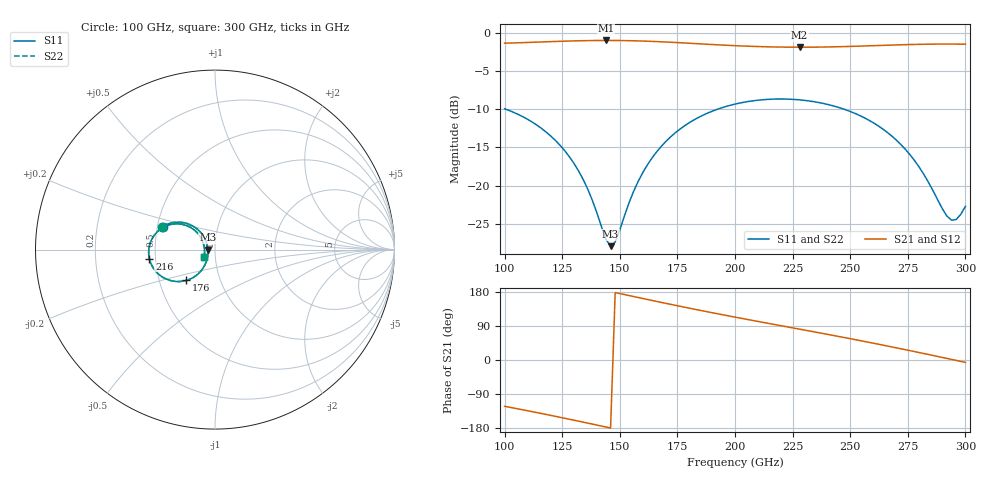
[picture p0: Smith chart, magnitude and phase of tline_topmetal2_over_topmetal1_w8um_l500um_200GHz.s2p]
#  GHZ S DB R 50
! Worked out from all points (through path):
!   101 points, 100 GHz to 300 GHz, reference 50 ohm
!   highest |S21| = -0.94 dB at 144 GHz (marker M1); lowest = -1.8 dB at 228 GHz (marker M2)
!   group delay of S21, straight-line fit = 3.36 ps
!   lowest |S11| = -28.0 dB at 146 GHz (marker M3), VSWR 1.08, Z = 46.2 - j0.0448 ohm
!   |S11| at or under -10 dB: 100.7 GHz to 192.2 GHz (91.46 GHz wide, 62.4 % of centre); 247.6 GHz to end of sweep
!   |S22| runs from -27.9 to -8.6 dB; largest |S21 - S12| = 1e-14
!   S11 on the Smith chart (normalised r, x): 100 GHz: 0.53, +0.15; 176 GHz: 0.69, -0.25; 216 GHz: 0.46, -0.05; 300 GHz: 0.88, -0.07
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100  -9.92 156.3  -1.30 -122.2  -1.30 -122.2  -9.91 156.4
120  -13.49 136.8  -1.10 -146.2  -1.10 -146.2  -13.48 136.9
128  -16.17 131.1  -1.02 -156.2  -1.02 -156.2  -16.15 131.2
134  -19.14 130.0  -0.98 -163.9  -0.98 -163.9  -19.12 130.1
138  -21.88 133.6  -0.96 -169.0  -0.96 -169.0  -21.84 133.6
144  -27.07 160.6  -0.94 -176.8  -0.94 -176.8  -27.01 160.4
146  -27.97 -179.3  -0.94 -179.4  -0.94 -179.4  -27.92 -179.6
148  -27.41 -158.2  -0.95 177.9  -0.95 177.9  -27.40 -158.6
158  -19.44 -123.2  -1.01 164.9  -1.01 164.9  -19.46 -123.3
168  -14.86 -126.3  -1.12 152.0  -1.12 152.0  -14.86 -126.3
176  -12.62 -132.9  -1.24 141.9  -1.24 141.9  -12.62 -132.9
188  -10.50 -144.4  -1.44 127.3  -1.44 127.3  -10.50 -144.4
200  -9.31 -156.4  -1.63 113.2  -1.63 113.2  -9.30 -156.4
216  -8.66 -172.2  -1.79 94.9  -1.79 94.9  -8.65 -172.2
228  -8.75 176.0  -1.83 81.4  -1.83 81.4  -8.74 176.0
234  -8.97 170.3  -1.82 74.7  -1.82 74.7  -8.97 170.2
252  -10.52 153.3  -1.71 53.9  -1.71 53.9  -10.51 153.2
268  -13.49 140.4  -1.55 34.6  -1.55 34.6  -13.48 140.1
280  -17.61 136.9  -1.45 19.6  -1.45 19.6  -17.61 136.4
292  -24.02 165.3  -1.42 4.1  -1.42 4.1  -24.15 164.5
296  -24.46 -168.7  -1.42 -1.0  -1.42 -1.0  -24.66 -168.9
300  -22.74 -147.4  -1.44 -6.2  -1.44 -6.2  -22.91 -147.1
